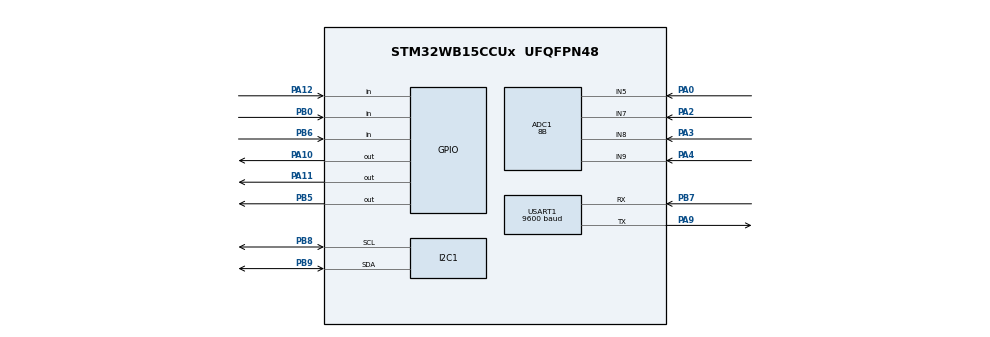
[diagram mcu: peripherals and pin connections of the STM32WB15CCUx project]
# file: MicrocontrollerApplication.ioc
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ADC1.Channel-1\#ChannelRegularConversion=ADC_CHANNEL_9
ADC1.ClockPrescaler=ADC_CLOCK_ASYNC_DIV4
ADC1.ContinuousConvMode=ENABLE
ADC1.DMAContinuousRequests=ENABLE
ADC1.NbrOfConversion=1
ADC1.NbrOfConversionFlag=1
ADC1.Rank-1\#ChannelRegularConversion=1
ADC1.Resolution=ADC_RESOLUTION_8B
ADC1.SamplingTime-1\#ChannelRegularConversion=ADC_SAMPLINGTIME_COMMON_1
ADC1.SelectedChannel=ADC_CHANNEL_5|ADC_CHANNEL_7|ADC_CHANNEL_8|ADC_CHANNEL_9
ADC1.master=1
Dma.ADC1.0.Direction=DMA_PERIPH_TO_MEMORY
Dma.ADC1.0.EventEnable=DISABLE
Dma.ADC1.0.Instance=DMA1_Channel1
Dma.ADC1.0.MemDataAlignment=DMA_MDATAALIGN_HALFWORD
Dma.ADC1.0.MemInc=DMA_MINC_ENABLE
Dma.ADC1.0.Mode=DMA_CIRCULAR
Dma.ADC1.0.PeriphDataAlignment=DMA_PDATAALIGN_WORD
Dma.ADC1.0.PeriphInc=DMA_PINC_DISABLE
Dma.ADC1.0.Polarity=HAL_DMAMUX_REQ_GEN_RISING
Dma.ADC1.0.Priority=DMA_PRIORITY_LOW
Dma.ADC1.0.RequestNumber=1
Dma.ADC1.0.SignalID=NONE
Dma.ADC1.0.SyncEnable=DISABLE
Dma.ADC1.0.SyncPolarity=HAL_DMAMUX_SYNC_NO_EVENT
Dma.ADC1.0.SyncRequestNumber=1
Dma.ADC1.0.SyncSignalID=NONE
Dma.Request0=ADC1
Mcu.Family=STM32WB
Mcu.Name=STM32WB15CCUx
Mcu.Package=UFQFPN48
NVIC.DMA1_Channel1_IRQn=true\:0\:0\:false\:false\:true\:false\:true
NVIC.PriorityGroup=NVIC_PRIORITYGROUP_4
NVIC.TIM1_UP_IRQn=true\:15\:0\:true\:false\:true\:false\:true
NVIC.TIM2_IRQn=true\:0\:0\:false\:false\:true\:true\:true
NVIC.TimeBase=TIM1_UP_IRQn
NVIC.TimeBaseIP=TIM1
NVIC.USART1_IRQn=true\:0\:0\:false\:false\:true\:true\:true
OSC_IN.Mode=HSE-External-Oscillator
OSC_IN.Signal=RCC_OSC_IN
OSC_OUT.Mode=HSE-External-Oscillator
OSC_OUT.Signal=RCC_OSC_OUT
PA0.Signal=ADCx_IN5
PA10.Signal=GPIO_Output
PA11.Signal=GPIO_Output
PA12.Signal=GPIO_Input
PA13.Mode=Serial_Wire
PA13.Signal=SYS_JTMS-SWDIO
PA14.Mode=Serial_Wire
PA14.Signal=SYS_JTCK-SWCLK
PA2.Signal=ADCx_IN7
PA3.Signal=ADCx_IN8
PA4.Signal=ADCx_IN9
PA9.Mode=Asynchronous
PA9.Signal=USART1_TX
PB0.Signal=GPIO_Input
PB5.PinState=GPIO_PIN_SET
PB5.Signal=GPIO_Output
PB6.Signal=GPIO_Input
PB7.Mode=Asynchronous
PB7.Signal=USART1_RX
PB8.Mode=I2C
PB8.Signal=I2C1_SCL
PB9.Mode=I2C
PB9.Signal=I2C1_SDA
PC14-OSC32_IN.Mode=LSE-External-Oscillator
PC14-OSC32_IN.Signal=RCC_OSC32_IN
PC15-OSC32_OUT.Mode=LSE-External-Oscillator
PC15-OSC32_OUT.Signal=RCC_OSC32_OUT
ProjectManager.HeapSize=0x200
ProjectManager.StackSize=0x400
ProjectManager.TargetToolchain=STM32CubeIDE
RCC.APB3Freq_Value=4000000
RCC.HSE_VALUE=8000000
RCC.HSI_VALUE=16000000
RCC.VCOOutputFreq_Value=32000000
RTC.Date=25
RTC.Hours=20
RTC.Minutes=30
RTC.WeekDay=RTC_WEEKDAY_TUESDAY
RTC.Year=22
SH.ADCx_IN5.0=ADC1_IN5,IN5-Single-Ended
SH.ADCx_IN7.0=ADC1_IN7,IN7-Single-Ended
SH.ADCx_IN8.0=ADC1_IN8,IN8-Single-Ended
SH.ADCx_IN9.0=ADC1_IN9,IN9-Single-Ended
TIM2.AutoReloadPreload=TIM_AUTORELOAD_PRELOAD_ENABLE
TIM2.Period=4000
TIM2.Prescaler=1000
USART1.BaudRate=9600
USART1.Parity=PARITY_NONE
USART1.VirtualMode-Asynchronous=VM_ASYNC
VP_RTC_VS_RTC_Activate.Mode=RTC_Enabled
VP_RTC_VS_RTC_Calendar.Mode=RTC_Calendar
VP_SYS_VS_tim1.Mode=TIM1
VP_TIM2_VS_ClockSourceINT.Mode=Internal
board=custom

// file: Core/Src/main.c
/* USER CODE BEGIN Header */
/**
 ******************************************************************************
 * @file           : main.c
 * @brief          : Main program body
 ******************************************************************************
 * @attention
 *
 * <h2><center>&copy; Copyright (c) 2021 STMicroelectronics.
 * All rights reserved.</center></h2>
 *
 * This software component is licensed by ST under BSD 3-Clause license,
 * the "License"; You may not use this file except in compliance with the
 * License. You may obtain a copy of the License at:
 *                        opensource.org/licenses/BSD-3-Clause
 *
 ******************************************************************************
 */

/* USER CODE END Header */
#include "main.h"

/* USER CODE BEGIN Includes */
#include <string.h>
#include <stdio.h>
#include "misc_defs.h"
#include "queue.h"
#include "state_machine.h"
#include "hx711.h"
/* USER CODE END Includes */

/* USER CODE BEGIN PD */
#define ADC_BUF_LEN 96
#define UART_RX_BUF_LEN 1

/* USER CODE END PD */

/* USER CODE BEGIN PM */

flags_t global_flags;
state_machine state;

/* USER CODE END PM */

ADC_HandleTypeDef hadc1;
DMA_HandleTypeDef hdma_adc1;

I2C_HandleTypeDef hi2c1;

RTC_HandleTypeDef hrtc;

TIM_HandleTypeDef htim2;

UART_HandleTypeDef huart1;

/* USER CODE BEGIN PV */
volatile uint16_t adc_buf[ADC_BUF_LEN];
uint8_t UART_RX_buf[UART_RX_BUF_LEN];

static const packet_t null_pkt;
static const payload_t null_pl;

volatile packet_t pkt;
volatile payload_t pl;
int sample_cnt;
int pkt_cnt;

hx711_t loadcell;
float weight;
/* USER CODE END PV */

void SystemClock_Config(void);
static void MX_GPIO_Init(void);
static void MX_ADC1_Init(void);
static void MX_DMA_Init(void);
static void MX_USART1_UART_Init(void);
static void MX_TIM2_Init(void);
static void MX_I2C1_Init(void);
static void MX_RTC_Init(void);

/* USER CODE BEGIN 0 */
uint32_t adcVal0, adcVal1;
ADC_ChannelConfTypeDef sConfig;
#define MPU6050_ADDR 0xD0

#define SMPLRT_DIV_REG 0x19
#define GYRO_CONFIG_REG 0x1B
#define ACCEL_CONFIG_REG 0x1C
#define ACCEL_XOUT_H_REG 0x3B
#define TEMP_OUT_H_REG 0x41
#define GYRO_XOUT_H_REG 0x43
#define PWR_MGMT_1_REG 0x6B
#define CHECK_REG 0x75

int16_t Accel_X_RAW = 0;
int16_t Accel_Y_RAW = 0;
int16_t Accel_Z_RAW = 0;

int16_t Gyro_X_RAW = 0;
int16_t Gyro_Y_RAW = 0;
int16_t Gyro_Z_RAW = 0;

float Ax, Ay, Az, Gx, Gy, Gz;

bool UART_Rx_Receive_Handler(char cmd, UART_HandleTypeDef *huart)
{
	switch(cmd)
	{
	case '0':
		return false;

	//Connected - PING
	case '1':
		HAL_UART_Transmit(huart, (uint8_t*)"1", UART_RX_BUF_LEN, HAL_MAX_DELAY);
		return true;

	//Start Transmission
	case '2':
		if(global_flags.can_transmit != 1)
		{
			HAL_UART_Transmit(huart, (uint8_t*)"1", UART_RX_BUF_LEN, HAL_MAX_DELAY);
			global_flags.can_transmit = 1;
		}
		return true;

	//Stop Transmission
	case '3':
		if(global_flags.can_transmit == 1)
		{
			HAL_UART_Transmit(huart, (uint8_t*)"1", UART_RX_BUF_LEN, HAL_MAX_DELAY);
			global_flags.can_transmit = 0;
		}
		return true;

	default:
		return false;
	}
}

void MPU6050_Init (void)
{
	uint8_t check;
	uint8_t Data;

	// check device ID

	HAL_I2C_Mem_Read (&hi2c1, MPU6050_ADDR,CHECK_REG,1, &check, 1, 1000);

	if (check == 104)  // 0x68 will be returned by the sensor if everything goes well
	{
		// power management register 0X6B we should write all 0's to wake the sensor up
		Data = 0;
		HAL_I2C_Mem_Write(&hi2c1, MPU6050_ADDR, PWR_MGMT_1_REG, 1,&Data, 1, 1000);

		// Set DATA RATE of 1KHz by writing SMPLRT_DIV register
		Data = 0x07;
		HAL_I2C_Mem_Write(&hi2c1, MPU6050_ADDR, SMPLRT_DIV_REG, 1, &Data, 1, 1000);

		// Set accelerometer configuration in ACCEL_CONFIG Register
		// XA_ST=0,YA_ST=0,ZA_ST=0, FS_SEL=0 -> � 2g
		Data = 0x00;
		HAL_I2C_Mem_Write(&hi2c1, MPU6050_ADDR, ACCEL_CONFIG_REG, 1, &Data, 1, 1000);

		// Set Gyroscopic configuration in GYRO_CONFIG Register
		// XG_ST=0,YG_ST=0,ZG_ST=0, FS_SEL=0 -> � 250 �/s
		Data = 0x00;
		HAL_I2C_Mem_Write(&hi2c1, MPU6050_ADDR, GYRO_CONFIG_REG, 1, &Data, 1, 1000);
	}

}

void MPU6050_Read_Accel (void)
{
	uint8_t Rec_Data[6];

	// Read 6 BYTES of data starting from ACCEL_XOUT_H register

	HAL_I2C_Mem_Read (&hi2c1, MPU6050_ADDR, ACCEL_XOUT_H_REG, 1, Rec_Data, 6, 1000);

	Accel_X_RAW = (int16_t)(Rec_Data[0] << 8 | Rec_Data [1]);
	Accel_Y_RAW = (int16_t)(Rec_Data[2] << 8 | Rec_Data [3]);
	Accel_Z_RAW = (int16_t)(Rec_Data[4] << 8 | Rec_Data [5]);

	/*** convert the RAW values into acceleration in 'g'
	     we have to divide according to the Full scale value set in FS_SEL
	     I have configured FS_SEL = 0. So I am dividing by 16384.0
	     for more details check ACCEL_CONFIG Register              ****/

	Ax = Accel_X_RAW/16384.0;
	Ay = Accel_Y_RAW/16384.0;
	Az = Accel_Z_RAW/16384.0;
}

void MPU6050_Read_Gyro (void)
{
	uint8_t Rec_Data[6];

	// Read 6 BYTES of data starting from GYRO_XOUT_H register

	HAL_I2C_Mem_Read (&hi2c1, MPU6050_ADDR, GYRO_XOUT_H_REG, 1, Rec_Data, 6, 1000);

	Gyro_X_RAW = (int16_t)(Rec_Data[0] << 8 | Rec_Data [1]);
	Gyro_Y_RAW = (int16_t)(Rec_Data[2] << 8 | Rec_Data [3]);
	Gyro_Z_RAW = (int16_t)(Rec_Data[4] << 8 | Rec_Data [5]);

	/*** convert the RAW values into dps (�/s)
	     we have to divide according to the Full scale value set in FS_SEL
	     I have configured FS_SEL = 0. So I am dividing by 131.0
	     for more details check GYRO_CONFIG Register              ****/

	Gx = Gyro_X_RAW/131.0;
	Gy = Gyro_Y_RAW/131.0;
	Gz = Gyro_Z_RAW/131.0;
}

void get_RTC_Value(char* buf)
{
	char _time[20];
	char _date[20];

	RTC_DateTypeDef gDate;
	RTC_TimeTypeDef gTime;
	/* Get the RTC current Time */
	HAL_RTC_GetTime(&hrtc, &gTime, RTC_FORMAT_BIN);
	/* Get the RTC current Date */
	HAL_RTC_GetDate(&hrtc, &gDate, RTC_FORMAT_BIN);
	/* Display time Format: hh:mm:ss */
	sprintf((char*)_time,"%02d:%02d:%02d ",gTime.Hours, gTime.Minutes, gTime.Seconds);
	strcat(buf,_time);
	/* Display date Format: dd-mm-yy */
	sprintf((char*)_date,"%02d-%02d-%2d\n",gDate.Date, gDate.Month, 2000 + gDate.Year);
	strcat(buf,_date);
}
/* USER CODE END 0 */

int main(void)
{
  /* USER CODE BEGIN 1 */
	uint16_t raw_ecg_val;
	uint16_t raw_emg_val;
	char msg[10];
	char buf[4];
	float weight;
	int loadcellCounter;

	//*** Uncomment to print str to UART ***//
	global_flags.str_debug = 0;
	//*************************************//

	//The microcontroller is booting up
	if(set_state(&state, STARTUP) == false)
	{
		Error_Handler();
	}
  /* USER CODE END 1 */

  /* MCU Configuration--------------------------------------------------------*/

  /* Reset of all peripherals, Initializes the Flash interface and the Systick. */
  HAL_Init();

  /* USER CODE BEGIN Init */

	//Begin to configure the mcu
	if(set_state(&state, CONFIGURING) == false)
	{
		Error_Handler();
	}
  /* USER CODE END Init */

  /* Configure the system clock */
  SystemClock_Config();

  /* Initialize all configured peripherals */
  MX_GPIO_Init();
  MX_ADC1_Init();
  MX_DMA_Init();
  MX_USART1_UART_Init();
  MX_TIM2_Init();
  MX_I2C1_Init();
  MX_RTC_Init();
  /* USER CODE BEGIN 2 */

	//DMA
	HAL_ADC_Start_DMA(&hadc1, (uint32_t*)adc_buf, ADC_BUF_LEN);

	//Interrupts
	//HAL_TIM_Base_Start_IT(&htim2); //Having Errors
	HAL_UART_Receive_IT (&huart1, UART_RX_buf, UART_RX_BUF_LEN);

	//Load Cell Init
	hx711_init(&loadcell, GPIOB, GPIO_PIN_5, GPIOB, GPIO_PIN_0);
	hx711_coef_set(&loadcell, 1000000); // read after calibration
	hx711_tare(&loadcell, 10);

	//Gyro and Accel Init
	MPU6050_Init();

	loadcellCounter=0;

	//Wait for 1 second
	HAL_Delay (1000);

	packet_queue* queue = create_queue();
	if(queue == NULL)
	{
		if(set_state(&state, INIT_QUEUE_FAIL) == false)
		{
			Error_Handler();
		}
	}

	if(set_state(&state, SEARCHING) == false)
	{
		Error_Handler();
	}

	while(HAL_GPIO_ReadPin(GPIOB, GPIO_PIN_6) != GPIO_PIN_SET)
	{
		state_action(state);
	}

	if(set_state(&state, CONNECTING) == false)
	{
		Error_Handler();
	}

	if(set_state(&state, READY) == false)
	{
		Error_Handler();
	}
	while(global_flags.can_transmit == 0x00)
	{
		if(global_flags.ble_interrupt)
		{
			UART_Rx_Receive_Handler((char) UART_RX_buf[0], &huart1);
			global_flags.ble_interrupt = 0x00;
		}
		state_action(state);
	}

  /* USER CODE END 2 */

  /* Infinite loop */
  /* USER CODE BEGIN WHILE */

	while (1)
	{

		if(set_state(&state, READING) == false)
		{
			Error_Handler();
		}

		char transmitString[340]="";

		if(global_flags.str_debug)
		{
			get_RTC_Value(msg);
			strcat(transmitString,msg);

			uint32_t time1 = HAL_GetTick();

			sprintf(msg, "%i, ", time1);
			strcat(transmitString,msg);
		}

		//Get ADC value
		sConfig.Channel= ADC_CHANNEL_9;
		HAL_ADC_ConfigChannel(&hadc1, &sConfig);
		HAL_ADC_Start(&hadc1);
		HAL_ADC_PollForConversion(&hadc1, HAL_MAX_DELAY);
		raw_ecg_val = HAL_ADC_GetValue(&hadc1);
		HAL_ADC_Stop(&hadc1);

		if(global_flags.str_debug)
		{
			sprintf(msg, "%hu, ", raw_ecg_val);
			strcat(transmitString,msg);
		}

		global_flags.ecg_ready = 0x01;
		pl.ecg_s[sample_cnt - 1] = (uint16_t)raw_ecg_val;

		//pl.ecg_s[sample_cnt - 1] = 0xCCCC;
		//Get ADC value
		sConfig.Channel= ADC_CHANNEL_5;
		HAL_ADC_ConfigChannel(&hadc1, &sConfig);
		HAL_ADC_Start(&hadc1);
		HAL_ADC_PollForConversion(&hadc1, HAL_MAX_DELAY);
		raw_emg_val = HAL_ADC_GetValue(&hadc1);
		HAL_ADC_Stop(&hadc1);

		if(global_flags.str_debug)
		{
			sprintf(msg, "%hu, ", raw_emg_val);
			strcat(transmitString,msg);
		}

		global_flags.emg_ready = 0x01;
		pl.emg_s[sample_cnt - 1] = (uint16_t)raw_emg_val;
		//pl.emg_s[sample_cnt - 1] = 0xBBBB;

		// read the Accelerometer and Gyro values
		if(sample_cnt % 32 == 0)
		{
			MPU6050_Read_Accel();
			MPU6050_Read_Gyro();

			global_flags.accel_ready = 0x01;
			pl.accelx_s = Ax;
			pl.accely_s = Ay;
			pl.accelz_s = Az;

			global_flags.gyro_ready = 0x01;
			pl.gyrox_s = Gx;
			pl.gyroy_s = Gy;
			pl.gyroz_s = Gz;

//			global_flags.accel_ready = 0x01;
//			pl.accelx_s = 0xDDDDDDDD;
//			pl.accely_s = 0xDDDDDDDD;
//			pl.accelz_s = 0xDDDDDDDD;
//
//			global_flags.gyro_ready = 0x01;
//			pl.gyrox_s = 0xDDDDDDDD;
//			pl.gyroy_s = 0xDDDDDDDD;
//			pl.gyroz_s = 0xDDDDDDDD;
		}

		if(global_flags.str_debug)
		{
			sprintf(buf, "%f, ", Ax);
			strcat(transmitString,buf);
			sprintf(buf, "%f, ", Ay);
			strcat(transmitString,buf);
			sprintf(buf, "%f, ", Az);
			strcat(transmitString,buf);
			sprintf(buf, "%f, ", Gx);
			strcat(transmitString,buf);
			sprintf(buf, "%f, ", Gy);
			strcat(transmitString,buf);
			sprintf(buf, "%f, ", Gz);
			strcat(transmitString,buf);
		}

		// Get value from the load cell amplifier
		//Only read the load cell value every 10000 samples

		if(loadcellCounter == 16){
			pl.force_s = hx711_weight(&loadcell, 10);
			//pl.force_s = 5.5;

			//pl.force_s = 0xAAAAAAAA;

			global_flags.force_ready = 0x01;

			loadcellCounter = 0;

			if(global_flags.str_debug)
			{
				sprintf(msg, "  %f,", weight);
				strcat(transmitString,msg);
			}
		}
		else
		{
			pl.force_s = 0.0;
		}

		if(global_flags.str_debug)
		{
			sprintf(msg, "%\r\n");
			strcat(transmitString,msg);
			HAL_UART_Transmit(&huart1, (uint8_t*)transmitString, strlen(transmitString), HAL_MAX_DELAY);
		}

		//Simple method to create and add packets to queue
		if(sample_cnt % 32 == 0 && sample_cnt != 0) //32 loops have occurred and at least 1 sensor has 1 value in it
		{

			if(set_state(&state, STORING) == false)
			{
				Error_Handler();
			}
			pl.payload_size = global_flags.sensor_contents; //bit mask

			pkt.start = 0xFFFFFFFF;
			pkt.payload = pl;
			pkt.state = (uint8_t) state; //save the current state;
			pkt.packet_size = sizeof(packet_t);
			pkt.packet_num = pkt_cnt;
			get_RTC_Value((char*)pkt.timestamp);

			if(!global_flags.str_debug && global_flags.can_transmit)
			{
				HAL_UART_Transmit(&huart1, (uint8_t*)&pkt, pkt.packet_size, HAL_MAX_DELAY); //size = 190
			}

			//			if(add_packet(queue, pkt) == false)
			//			{
			//				sprintf(msg, "Full\r\n");
			//				global_flags.queue_full = 0x01;
			//				HAL_Delay (2000);
			//				if(HAL_UART_Transmit(&huart1, (uint8_t*)msg, strlen(msg), HAL_MAX_DELAY) != HAL_OK)
			//				{
			//					Error_Handler();
			//				}
			//			}
			//			else
			//			{
			//				sprintf(msg, "Added\r\n");
			//				HAL_Delay (2000);
			//				if(HAL_UART_Transmit(&huart1, (uint8_t*)msg, strlen(msg), HAL_MAX_DELAY) != HAL_OK)
			//				{
			//					Error_Handler();
			//				}
			//			}
			pl = null_pl;
			pkt = null_pkt;

			global_flags.sensor_contents = 0x00; //reset all packet ready values
			pkt_cnt ++;
			loadcellCounter ++;
			sample_cnt = 0;
		}

		sample_cnt ++;

		if(global_flags.ble_interrupt)
		{
			UART_Rx_Receive_Handler(UART_RX_buf[0], &huart1);
			global_flags.ble_interrupt = 0;

		}
    /* USER CODE END WHILE */

	}
}

void SystemClock_Config(void)
{
  RCC_OscInitTypeDef RCC_OscInitStruct = {0};
  RCC_ClkInitTypeDef RCC_ClkInitStruct = {0};
  RCC_PeriphCLKInitTypeDef PeriphClkInitStruct = {0};

  /** Configure LSE Drive Capability
  */
  HAL_PWR_EnableBkUpAccess();
  __HAL_RCC_LSEDRIVE_CONFIG(RCC_LSEDRIVE_LOW);
  /** Initializes the RCC Oscillators according to the specified parameters
  * in the RCC_OscInitTypeDef structure.
  */
  RCC_OscInitStruct.OscillatorType = RCC_OSCILLATORTYPE_HSI|RCC_OSCILLATORTYPE_LSI1
                              |RCC_OSCILLATORTYPE_HSE|RCC_OSCILLATORTYPE_LSE
                              |RCC_OSCILLATORTYPE_MSI;
  RCC_OscInitStruct.HSEState = RCC_HSE_ON;
  RCC_OscInitStruct.LSEState = RCC_LSE_ON;
  RCC_OscInitStruct.HSIState = RCC_HSI_ON;
  RCC_OscInitStruct.MSIState = RCC_MSI_ON;
  RCC_OscInitStruct.HSICalibrationValue = RCC_HSICALIBRATION_DEFAULT;
  RCC_OscInitStruct.MSICalibrationValue = RCC_MSICALIBRATION_DEFAULT;
  RCC_OscInitStruct.MSIClockRange = RCC_MSIRANGE_6;
  RCC_OscInitStruct.LSIState = RCC_LSI_ON;
  RCC_OscInitStruct.PLL.PLLState = RCC_PLL_NONE;
  if (HAL_RCC_OscConfig(&RCC_OscInitStruct) != HAL_OK)
  {
    Error_Handler();
  }
  /** Configure the SYSCLKSource, HCLK, PCLK1 and PCLK2 clocks dividers
  */
  RCC_ClkInitStruct.ClockType = RCC_CLOCKTYPE_HCLK4|RCC_CLOCKTYPE_HCLK2
                              |RCC_CLOCKTYPE_HCLK|RCC_CLOCKTYPE_SYSCLK
                              |RCC_CLOCKTYPE_PCLK1|RCC_CLOCKTYPE_PCLK2;
  RCC_ClkInitStruct.SYSCLKSource = RCC_SYSCLKSOURCE_MSI;
  RCC_ClkInitStruct.AHBCLKDivider = RCC_SYSCLK_DIV1;
  RCC_ClkInitStruct.APB1CLKDivider = RCC_HCLK_DIV1;
  RCC_ClkInitStruct.APB2CLKDivider = RCC_HCLK_DIV1;
  RCC_ClkInitStruct.AHBCLK2Divider = RCC_SYSCLK_DIV1;
  RCC_ClkInitStruct.AHBCLK4Divider = RCC_SYSCLK_DIV1;

  if (HAL_RCC_ClockConfig(&RCC_ClkInitStruct, FLASH_LATENCY_0) != HAL_OK)
  {
    Error_Handler();
  }
  /** Initializes the peripherals clocks
  */
  PeriphClkInitStruct.PeriphClockSelection = RCC_PERIPHCLK_SMPS|RCC_PERIPHCLK_RTC
                              |RCC_PERIPHCLK_USART1|RCC_PERIPHCLK_I2C1
                              |RCC_PERIPHCLK_ADC;
  PeriphClkInitStruct.Usart1ClockSelection = RCC_USART1CLKSOURCE_PCLK2;
  PeriphClkInitStruct.I2c1ClockSelection = RCC_I2C1CLKSOURCE_PCLK1;
  PeriphClkInitStruct.AdcClockSelection = RCC_ADCCLKSOURCE_HSI;
  PeriphClkInitStruct.RTCClockSelection = RCC_RTCCLKSOURCE_LSI;
  PeriphClkInitStruct.SmpsClockSelection = RCC_SMPSCLKSOURCE_HSI;
  PeriphClkInitStruct.SmpsDivSelection = RCC_SMPSCLKDIV_RANGE1;
  if (HAL_RCCEx_PeriphCLKConfig(&PeriphClkInitStruct) != HAL_OK)
  {
    Error_Handler();
  }
  /** Enable MSI Auto calibration
  */
  HAL_RCCEx_EnableMSIPLLMode();
}

static void MX_ADC1_Init(void)
{

  ADC_ChannelConfTypeDef sConfig = {0};

  /** Common config
  */
  hadc1.Instance = ADC1;
  hadc1.Init.ClockPrescaler = ADC_CLOCK_ASYNC_DIV4;
  hadc1.Init.Resolution = ADC_RESOLUTION_8B;
  hadc1.Init.DataAlign = ADC_DATAALIGN_RIGHT;
  hadc1.Init.ScanConvMode = ADC_SCAN_DISABLE;
  hadc1.Init.EOCSelection = ADC_EOC_SINGLE_CONV;
  hadc1.Init.SamplingTimeCommon1 = ADC_SAMPLETIME_1CYCLE_5;
  hadc1.Init.SamplingTimeCommon2 = ADC_SAMPLETIME_1CYCLE_5;
  hadc1.Init.LowPowerAutoWait = DISABLE;
  hadc1.Init.ContinuousConvMode = ENABLE;
  hadc1.Init.NbrOfConversion = 1;
  hadc1.Init.DiscontinuousConvMode = DISABLE;
  hadc1.Init.ExternalTrigConv = ADC_SOFTWARE_START;
  hadc1.Init.ExternalTrigConvEdge = ADC_EXTERNALTRIGCONVEDGE_NONE;
  hadc1.Init.DMAContinuousRequests = ENABLE;
  hadc1.Init.Overrun = ADC_OVR_DATA_PRESERVED;
  if (HAL_ADC_Init(&hadc1) != HAL_OK)
  {
    Error_Handler();
  }
  /** Configure Regular Channel
  */
  sConfig.Channel = ADC_CHANNEL_9;
  sConfig.Rank = ADC_REGULAR_RANK_1;
  sConfig.SamplingTime = ADC_SAMPLINGTIME_COMMON_1;
  if (HAL_ADC_ConfigChannel(&hadc1, &sConfig) != HAL_OK)
  {
    Error_Handler();
  }

}

static void MX_I2C1_Init(void)
{

  hi2c1.Instance = I2C1;
  hi2c1.Init.Timing = 0x00000E14;
  hi2c1.Init.OwnAddress1 = 0;
  hi2c1.Init.AddressingMode = I2C_ADDRESSINGMODE_7BIT;
  hi2c1.Init.DualAddressMode = I2C_DUALADDRESS_DISABLE;
  hi2c1.Init.OwnAddress2 = 0;
  hi2c1.Init.OwnAddress2Masks = I2C_OA2_NOMASK;
  hi2c1.Init.GeneralCallMode = I2C_GENERALCALL_DISABLE;
  hi2c1.Init.NoStretchMode = I2C_NOSTRETCH_DISABLE;
  if (HAL_I2C_Init(&hi2c1) != HAL_OK)
  {
    Error_Handler();
  }
  /** Configure Analogue filter
  */
  if (HAL_I2CEx_ConfigAnalogFilter(&hi2c1, I2C_ANALOGFILTER_ENABLE) != HAL_OK)
  {
    Error_Handler();
  }
  /** Configure Digital filter
  */
  if (HAL_I2CEx_ConfigDigitalFilter(&hi2c1, 0) != HAL_OK)
  {
    Error_Handler();
  }

}

static void MX_RTC_Init(void)
{

  RTC_TimeTypeDef sTime = {0};
  RTC_DateTypeDef sDate = {0};

  /** Initialize RTC Only
  */
  hrtc.Instance = RTC;
  hrtc.Init.HourFormat = RTC_HOURFORMAT_24;
  hrtc.Init.AsynchPrediv = 127;
  hrtc.Init.SynchPrediv = 255;
  hrtc.Init.OutPut = RTC_OUTPUT_DISABLE;
  hrtc.Init.OutPutPolarity = RTC_OUTPUT_POLARITY_HIGH;
  hrtc.Init.OutPutRemap = RTC_OUTPUT_REMAP_NONE;
  if (HAL_RTC_Init(&hrtc) != HAL_OK)
  {
    Error_Handler();
  }

  /** Initialize RTC and set the Time and Date
  */
  sTime.Hours = 0x20;
  sTime.Minutes = 0x30;
  sTime.Seconds = 0x0;
  sTime.SubSeconds = 0x0;
  sTime.DayLightSaving = RTC_DAYLIGHTSAVING_NONE;
  sTime.StoreOperation = RTC_STOREOPERATION_RESET;
  if (HAL_RTC_SetTime(&hrtc, &sTime, RTC_FORMAT_BCD) != HAL_OK)
  {
    Error_Handler();
  }
  sDate.WeekDay = RTC_WEEKDAY_TUESDAY;
  sDate.Month = RTC_MONTH_JANUARY;
  sDate.Date = 0x25;
  sDate.Year = 0x22;

  if (HAL_RTC_SetDate(&hrtc, &sDate, RTC_FORMAT_BCD) != HAL_OK)
  {
    Error_Handler();
  }

}

static void MX_TIM2_Init(void)
{

  TIM_ClockConfigTypeDef sClockSourceConfig = {0};
  TIM_MasterConfigTypeDef sMasterConfig = {0};

  htim2.Instance = TIM2;
  htim2.Init.Prescaler = 1000;
  htim2.Init.CounterMode = TIM_COUNTERMODE_UP;
  htim2.Init.Period = 4000;
  htim2.Init.ClockDivision = TIM_CLOCKDIVISION_DIV1;
  htim2.Init.AutoReloadPreload = TIM_AUTORELOAD_PRELOAD_ENABLE;
  if (HAL_TIM_Base_Init(&htim2) != HAL_OK)
  {
    Error_Handler();
  }
  sClockSourceConfig.ClockSource = TIM_CLOCKSOURCE_INTERNAL;
  if (HAL_TIM_ConfigClockSource(&htim2, &sClockSourceConfig) != HAL_OK)
  {
    Error_Handler();
  }
  sMasterConfig.MasterOutputTrigger = TIM_TRGO_RESET;
  sMasterConfig.MasterSlaveMode = TIM_MASTERSLAVEMODE_DISABLE;
  if (HAL_TIMEx_MasterConfigSynchronization(&htim2, &sMasterConfig) != HAL_OK)
  {
    Error_Handler();
  }

}

static void MX_USART1_UART_Init(void)
{

  huart1.Instance = USART1;
  huart1.Init.BaudRate = 9600;
  huart1.Init.WordLength = UART_WORDLENGTH_8B;
  huart1.Init.StopBits = UART_STOPBITS_1;
  huart1.Init.Parity = UART_PARITY_NONE;
  huart1.Init.Mode = UART_MODE_TX_RX;
  huart1.Init.HwFlowCtl = UART_HWCONTROL_NONE;
  huart1.Init.OverSampling = UART_OVERSAMPLING_16;
  huart1.Init.OneBitSampling = UART_ONE_BIT_SAMPLE_DISABLE;
  huart1.Init.ClockPrescaler = UART_PRESCALER_DIV1;
  huart1.AdvancedInit.AdvFeatureInit = UART_ADVFEATURE_NO_INIT;
  if (HAL_UART_Init(&huart1) != HAL_OK)
  {
    Error_Handler();
  }
  if (HAL_UARTEx_SetTxFifoThreshold(&huart1, UART_TXFIFO_THRESHOLD_1_8) != HAL_OK)
  {
    Error_Handler();
  }
  if (HAL_UARTEx_SetRxFifoThreshold(&huart1, UART_RXFIFO_THRESHOLD_1_8) != HAL_OK)
  {
    Error_Handler();
  }
  if (HAL_UARTEx_DisableFifoMode(&huart1) != HAL_OK)
  {
    Error_Handler();
  }

}

static void MX_DMA_Init(void)
{

  /* DMA controller clock enable */
  __HAL_RCC_DMAMUX1_CLK_ENABLE();
  __HAL_RCC_DMA1_CLK_ENABLE();

  /* DMA interrupt init */
  /* DMA1_Channel1_IRQn interrupt configuration */
  HAL_NVIC_SetPriority(DMA1_Channel1_IRQn, 0, 0);
  HAL_NVIC_EnableIRQ(DMA1_Channel1_IRQn);

}

static void MX_GPIO_Init(void)
{
  GPIO_InitTypeDef GPIO_InitStruct = {0};

  /* GPIO Ports Clock Enable */
  __HAL_RCC_GPIOC_CLK_ENABLE();
  __HAL_RCC_GPIOB_CLK_ENABLE();
  __HAL_RCC_GPIOA_CLK_ENABLE();

  /*Configure GPIO pin Output Level */
  HAL_GPIO_WritePin(GPIOA, GPIO_PIN_10|GPIO_PIN_11, GPIO_PIN_RESET);

  /*Configure GPIO pin Output Level */
  HAL_GPIO_WritePin(GPIOB, GPIO_PIN_5, GPIO_PIN_SET);

  /*Configure GPIO pins : PB0 PB6 */
  GPIO_InitStruct.Pin = GPIO_PIN_0|GPIO_PIN_6;
  GPIO_InitStruct.Mode = GPIO_MODE_INPUT;
  GPIO_InitStruct.Pull = GPIO_NOPULL;
  HAL_GPIO_Init(GPIOB, &GPIO_InitStruct);

  /*Configure GPIO pins : PA10 PA11 */
  GPIO_InitStruct.Pin = GPIO_PIN_10|GPIO_PIN_11;
  GPIO_InitStruct.Mode = GPIO_MODE_OUTPUT_PP;
  GPIO_InitStruct.Pull = GPIO_NOPULL;
  GPIO_InitStruct.Speed = GPIO_SPEED_FREQ_LOW;
  HAL_GPIO_Init(GPIOA, &GPIO_InitStruct);

  /*Configure GPIO pin : PA12 */
  GPIO_InitStruct.Pin = GPIO_PIN_12;
  GPIO_InitStruct.Mode = GPIO_MODE_INPUT;
  GPIO_InitStruct.Pull = GPIO_NOPULL;
  HAL_GPIO_Init(GPIOA, &GPIO_InitStruct);

  /*Configure GPIO pin : PB5 */
  GPIO_InitStruct.Pin = GPIO_PIN_5;
  GPIO_InitStruct.Mode = GPIO_MODE_OUTPUT_PP;
  GPIO_InitStruct.Pull = GPIO_NOPULL;
  GPIO_InitStruct.Speed = GPIO_SPEED_FREQ_LOW;
  HAL_GPIO_Init(GPIOB, &GPIO_InitStruct);

}

/* USER CODE BEGIN 4 */
void HAL_UART_RxCpltCallback(UART_HandleTypeDef *huart)
{
	//HAL_UART_Transmit(&huart1, (uint8_t*)UART_RX_buf, UART_RX_BUF_LEN, HAL_MAX_DELAY);
	global_flags.ble_interrupt = 1;
	HAL_GPIO_TogglePin(GPIOB, GPIO_PIN_5);
	HAL_UART_Receive_IT(&huart1, UART_RX_buf, UART_RX_BUF_LEN);
}

/* USER CODE END 4 */

void HAL_TIM_PeriodElapsedCallback(TIM_HandleTypeDef *htim)
{
  /* USER CODE BEGIN Callback 0 */
	if(htim->Instance == TIM2)
	{
		HAL_UART_Transmit(&huart1, (uint8_t*)"Interrupt!\r\n", 15, HAL_MAX_DELAY);
		HAL_GPIO_WritePin(GPIOB, GPIO_PIN_5, GPIO_PIN_SET);
		HAL_Delay(1000);
		HAL_GPIO_WritePin(GPIOB, GPIO_PIN_5, GPIO_PIN_RESET);

	}
  /* USER CODE END Callback 0 */
  if (htim->Instance == TIM1) {
    HAL_IncTick();
  }
}

void Error_Handler(void)
{
	__disable_irq();
	while (1)
	{
	}
}

/************************ (C) COPYRIGHT STMicroelectronics *****END OF FILE****/
